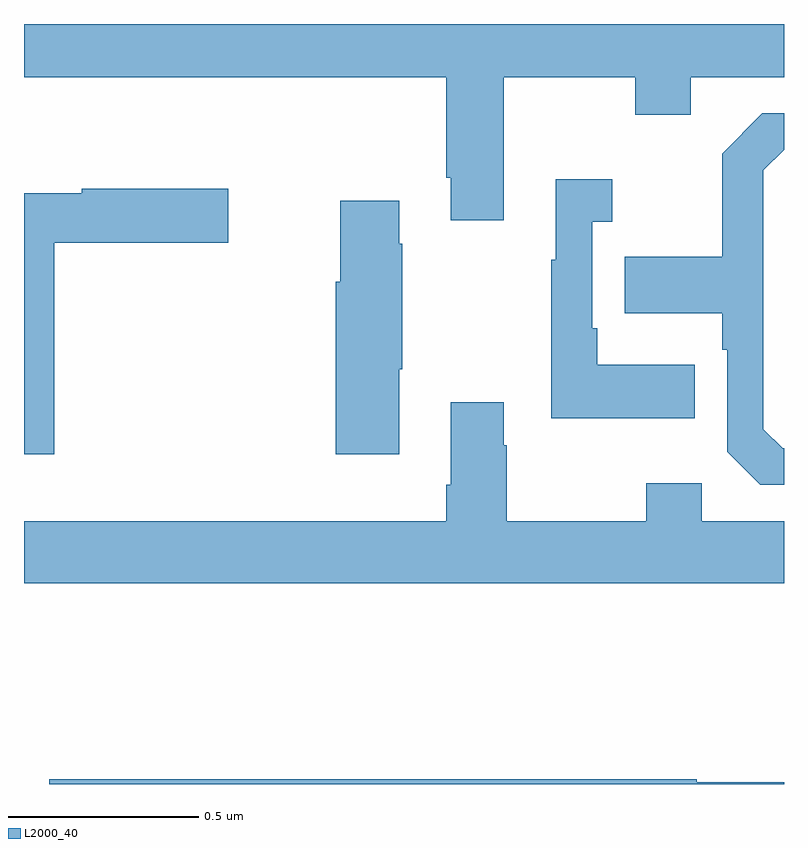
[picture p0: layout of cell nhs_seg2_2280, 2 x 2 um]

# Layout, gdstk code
import gdstk
lib = gdstk.Library(unit=1e-6, precision=1e-09)
def P(c, l, *ps):  # polygons
    for p in ps: c.add(gdstk.Polygon(p, *l))
L2000_40 = (2000, 40)

nhs_seg2_2280 = lib.new_cell('nhs_seg2_2280')
P(nhs_seg2_2280, L2000_40, [(140.263,623.66),(140.608,623.66),(140.608,623.561),(140.755,623.561),(140.755,623.66),(141,623.66),(141,623.8),(139,623.8),(139,623.66),(140.111,623.66),(140.111,623.395),(140.123,623.395),(140.123,623.283),(140.263,623.283)],
  [(141,622.683),(140.997,622.683),(140.946,622.734),(140.946,623.415),(141,623.469),(141,623.565),(140.943,623.565),(140.838,623.459),(140.838,623.187),(140.581,623.187),(140.581,623.039),(140.838,623.039),(140.838,622.943),(140.85,622.943),(140.85,622.674),(140.937,622.587),(141,622.587)],
  [(140.765,622.903),(140.509,622.903),(140.509,622.999),(140.496,622.999),(140.496,623.279),(140.548,623.279),(140.548,623.392),(140.399,623.392),(140.399,623.179),(140.388,623.179),(140.388,622.763),(140.765,622.763)],
  [(139.079,623.225),(139.537,623.225),(139.537,623.367),(139.152,623.367),(139.152,623.355),(139,623.355),(139,622.668),(139.079,622.668)],
  [(139.987,622.891),(139.995,622.891),(139.995,623.222),(139.987,623.222),(139.987,623.335),(139.832,623.335),(139.832,623.122),(139.82,623.122),(139.82,622.668),(139.987,622.668)],
  [(141,622.492),(140.784,622.492),(140.784,622.591),(140.638,622.591),(140.638,622.492),(140.271,622.492),(140.271,622.691),(140.263,622.691),(140.263,622.804),(140.123,622.804),(140.123,622.588),(140.111,622.588),(140.111,622.492),(139,622.492),(139,622.328),(141,622.328)],
  [(141,621.805),(140.771,621.805),(140.771,621.812),(139.067,621.812),(139.067,621.8),(141,621.8)])

lib.write_gds('nhs_seg2_2280.gds')
